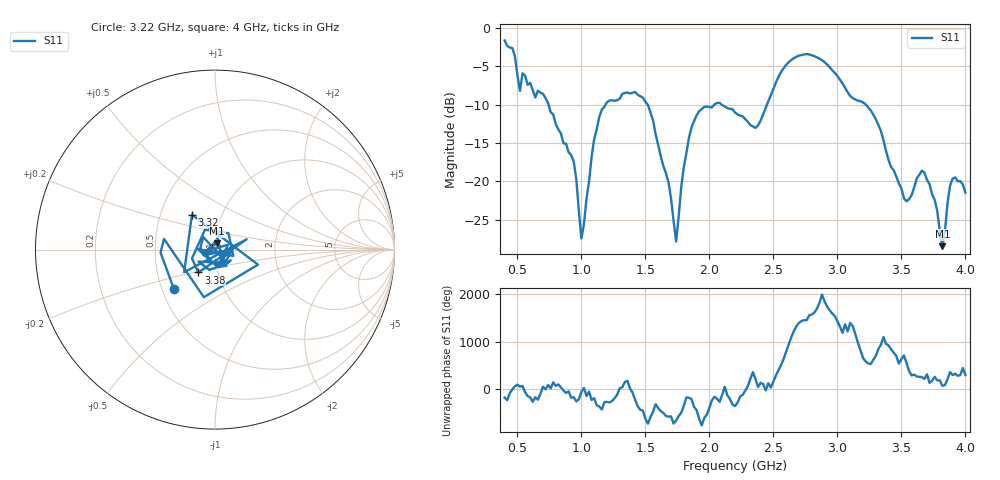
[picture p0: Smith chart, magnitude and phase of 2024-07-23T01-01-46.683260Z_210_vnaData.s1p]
!Created with skrf (http://scikit-rf.org).
# Hz S RI R 50.0
!freq ReS11 ImS11
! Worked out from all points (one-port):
!   181 points, 400 MHz to 4 GHz, reference 50 ohm
!   lowest |S11| = -28.4 dB at 3.82 GHz (marker M1), VSWR 1.08, Z = 51.1 + j3.67 ohm
!   |S11| at or under -10 dB: 742.9 MHz to 1.189 GHz (446.3 MHz wide, 46.2 % of centre); 1.517 GHz to 2.039 GHz (521.2 MHz wide, 29.3 % of centre); 3.222 GHz to end of sweep (the widest 3 of 4)
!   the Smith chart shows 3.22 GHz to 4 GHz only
!   S11 on the Smith chart (normalised r, x): 3.22 GHz: 0.58, -0.28; 3.32 GHz: 0.72, +0.30; 3.38 GHz: 0.81, -0.21; 4 GHz: 1.08, -0.16
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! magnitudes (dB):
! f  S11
! 400 MHz  -1.7
! 480 MHz  -3.7
! 520 MHz  -8.2
! 540 MHz  -5.9
! 700 MHz  -8.6
! 860 MHz  -15.1
! 940 MHz  -17.4
! 1 GHz  -27.4
! 1.14 GHz  -11.6
! 1.3 GHz  -9.2
! 1.52 GHz  -10.1
! 1.68 GHz  -20.1
! 1.74 GHz  -27.8
! 1.76 GHz  -24.5
! 1.84 GHz  -14.3
! 1.9 GHz  -11.4
! 2.2 GHz  -11.0
! 2.36 GHz  -13.0
! 2.66 GHz  -4.0
! 3.1 GHz  -8.9
! 3.22 GHz  -10.0
! 3.32 GHz  -12.6
! 3.38 GHz  -16.0
! 3.56 GHz  -22.3
! 3.68 GHz  -18.9
! 3.82 GHz  -28.4
! 3.9 GHz  -19.7
! 4 GHz  -21.5
